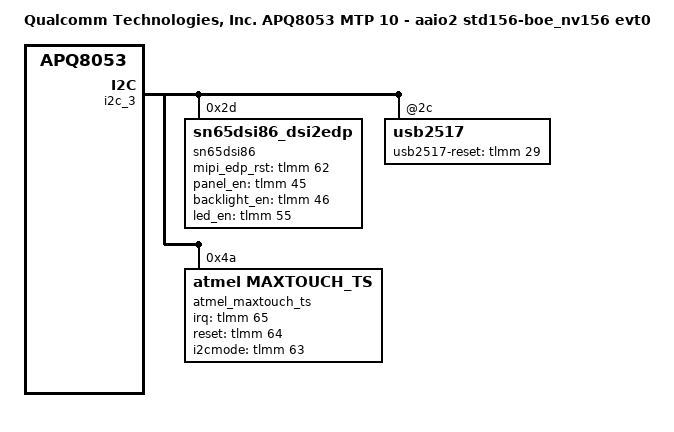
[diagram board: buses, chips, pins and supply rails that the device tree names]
/*
 * Copyright (c) 2015-2016, The Linux Foundation. All rights reserved.
 *
 * This program is free software; you can redistribute it and/or modify
 * it under the terms of the GNU General Public License version 2 and
 * only version 2 as published by the Free Software Foundation.
 *
 * This program is distributed in the hope that it will be useful,
 * but WITHOUT ANY WARRANTY; without even the implied warranty of
 * MERCHANTABILITY or FITNESS FOR A PARTICULAR PURPOSE.  See the
 * GNU General Public License for more details.
 */

/dts-v1/;

#include "apq8053.dtsi"
#include "msm8953-mtp.dtsi"
#include "apq8053-oem.dtsi"
#include "apq8053-mtp-edp-hdmi.dtsi"//Leo Guo add to support all panel in one image
#include "apq8053-mtp-aaio2.dtsi"

/ {
	model = "Qualcomm Technologies, Inc. APQ8053 MTP 10 - aaio2 std156-boe_nv156 evt0";
	compatible = "qcom,apq8053-mtp", "qcom,apq8053", "qcom,mtp";
	qcom,board-id= <0x00530108 0>;
};

&i2c_3 {
	sn65dsi86@2d {
		compatible = "sn65dsi86_dsi2edp";
		mipi_edp_rst-gpio =<&tlmm 62 0>;
		panel_en-gpio = <&tlmm 45 0>;
		backlight_en-gpio = <&tlmm 46 0>;
		led_en-gpio = <&tlmm 55 0>;
		reg = <0x2D>;
	};

	/* Internal USB2.0 hub reset */
	usb2517@2c {
		qcom,usb2517-reset-gpio = <&tlmm 29 0>;
	};
};

/* Atmel touch - evt0 wiring: on i2c_3, and no pinctrl */
&i2c_3 {
	atmel_maxtouch_ts@4A {
		compatible = "atmel,maxtouch_ts";
		reg = <0x4A>;
		interrupt-parent = <&tlmm>;
		interrupts = <65 0x0>;
		atmel,display-coords = <0 0 1920 1080>;
		atmel,panel-coords = <0 0 1920 1080>;
		atmel,irq-gpio= <&tlmm 65 0x00>;
		atmel,reset-gpio= <&tlmm 64 0x00>;
		atmel,i2cmode-gpio = <&tlmm 63 0>;
		atmel,ignore-crc;
		atmel,no-force-update;
	};
};
